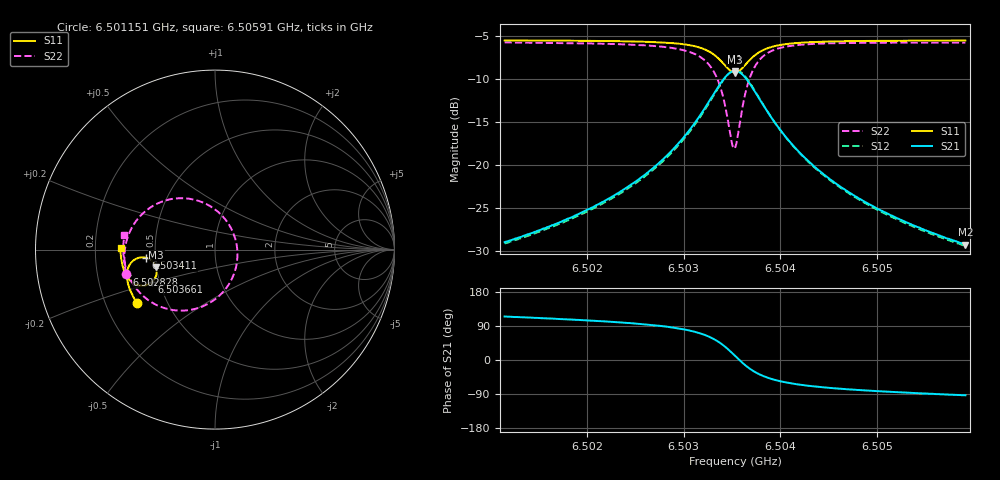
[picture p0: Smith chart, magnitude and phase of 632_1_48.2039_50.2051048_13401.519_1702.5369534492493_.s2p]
#  HZ  S  RI  R  50.00
! Rohde & Schwarz Vector Network Analyzer
! Rohde-Schwarz,ZNB20-2Port,1311601062101988,3.16
! Created: UTC 3/20/2024, 12:04:21 PM
! freq[Hz]  re:S11  im:S11  re:S21  im:S21  re:S12  im:S12  re:S22  im:S22
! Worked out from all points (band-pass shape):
!   401 points, 6.501151 GHz to 6.50591 GHz, reference 50 ohm
!   highest |S21| = -9.11 dB at 6.50353 GHz (marker M1); lowest = -29.3 dB at 6.50591 GHz (marker M2)
!   |S21| within 3 dB of the highest: 6.503293 GHz to 6.503768 GHz (474.8 kHz wide, 0.0073 % of centre)
!   lowest |S11| = -9.3 dB at 6.50353 GHz (marker M3), VSWR 2.04, Z = 24.9 - j5.6 ohm
!   |S11| at or under -10 dB: nowhere
!   |S22| runs from -18.1 to -5.8 dB; largest |S21 - S12| = 0.013
!   S11 on the Smith chart (normalised r, x): 6.501151 GHz: 0.34, -0.28; 6.502828 GHz: 0.33, -0.13; 6.503411 GHz: 0.44, -0.05; 6.503661 GHz: 0.46, -0.19; 6.50591 GHz: 0.31, +0.01
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6.501151e9  -0.4358 -0.2961  -0.0148 0.0321  -0.0129 0.0322  -0.4945 -0.1376
6.5019481e9  -0.4686 -0.2354  -0.0139 0.0508  -0.0113 0.0503  -0.5048 -0.0495
6.5023764e9  -0.4831 -0.1961  -0.0107 0.0706  -0.00757 0.0693  -0.5001 0.0141
6.5027452e9  -0.4908 -0.1535  -0.00065 0.1021  0.00315 0.0996  -0.4776 0.0923
6.5028285e9  -0.4911 -0.1419  0.00417 0.1128  0.00819 0.1099  -0.4668 0.1156
6.5030307e9  -0.486 -0.1078  0.0277 0.1485  0.0316 0.1439  -0.4181 0.1851
6.5031735e9  -0.4713 -0.0777  0.0664 0.1829  0.0693 0.177  -0.3432 0.245
6.5033163e9  -0.4317 -0.048  0.1507 0.2123  0.1515 0.2058  -0.1895 0.2864
6.5034114e9  -0.3836 -0.0456  0.2451 0.195  0.2455 0.1901  -0.026 0.2415
6.5034947e9  -0.3393 -0.0763  0.3258 0.1176  0.3288 0.1132  0.1031 0.0891
6.5035304e9  -0.328 -0.0993  0.344 0.0672  0.3482 0.0612  0.1247 -0.00596
6.5035542e9  -0.325 -0.1162  0.3474 0.0313  0.3521 0.0241  0.1221 -0.0718
6.5035899e9  -0.3274 -0.1414  0.3397 -0.0206  0.3438 -0.0302  0.0935 -0.1643
6.5036613e9  -0.3505 -0.1799  0.2909 -0.0997  0.2911 -0.112  -0.0212 -0.2917
6.5037089e9  -0.3718 -0.194  0.2493 -0.1291  0.2465 -0.1413  -0.1083 -0.3296
6.5037683e9  -0.3977 -0.201  0.2006 -0.1459  0.1952 -0.1566  -0.2039 -0.3397
6.503923e9  -0.4463 -0.1915  0.1139 -0.1415  0.1064 -0.1471  -0.3601 -0.2893
6.5040896e9  -0.4748 -0.1701  0.067 -0.1196  0.0602 -0.1221  -0.4359 -0.2206
6.5043275e9  -0.496 -0.1402  0.0354 -0.0934  0.0304 -0.094  -0.4812 -0.1456
6.5046963e9  -0.5121 -0.1004  0.0153 -0.0679  0.0117 -0.0677  -0.5048 -0.0671
6.5051246e9  -0.5211 -0.0599  0.00541 -0.0509  0.00298 -0.0502  -0.5113 -0.00324
6.5059098e9  -0.5264 0.00738  -0.00185 -0.0342  -0.00335 -0.0334  -0.5044 0.0831
